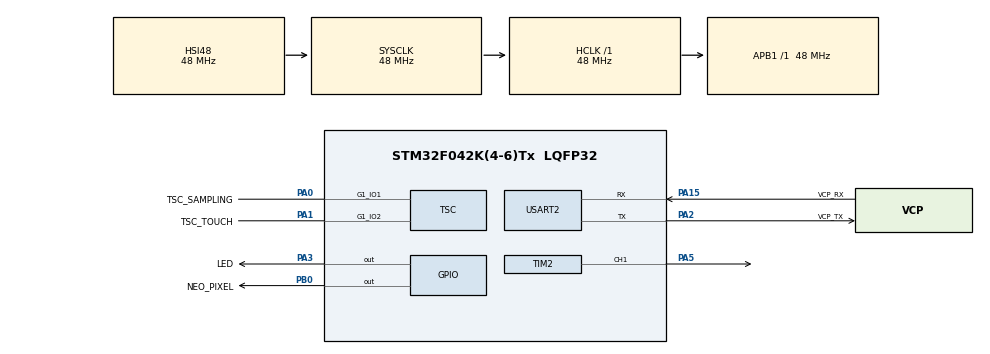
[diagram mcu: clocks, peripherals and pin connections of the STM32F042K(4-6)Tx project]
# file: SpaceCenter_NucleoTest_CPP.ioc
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Mcu.Family=STM32F0
Dma.TIM2_CH1.0.MemInc=DMA_MINC_ENABLE
TOUCHSENSING.IO_TOUCHKEY1-TouchSensing_Enabled=G1_IO2
TIM2.OCFastMode_PWM-PWM\ Generation1\ CH1=TIM_OCFAST_ENABLE
PA14.GPIO_Label=SWCLK
PA0.GPIO_Label=TSC_SAMPLING
PB0.GPIO_Label=NEO_PIXEL
Dma.TIM2_CH1.0.Instance=DMA1_Channel5
TOUCHSENSING.TSLPRM_TKEY_CALIB_TH=15
RCC.SYSCLKSource=RCC_SYSCLKSOURCE_HSI48
ProjectManager.StackSize=0x400
PB0.GPIO_Speed=GPIO_SPEED_FREQ_HIGH
PA13.Signal=SYS_SWDIO
PA15.GPIO_Label=VCP_RX
TOUCHSENSING.TSLPRM_TKEY_DETECT_IN_TH=30
ProjectManager.TargetToolchain=STM32CubeIDE
RCC.HCLKFreq_Value=48000000
TOUCHSENSING.TSLPRM_TOTAL_TOUCHKEYS_B=1
PA1.Signal=TSC_G1_IO2
RCC.AHBFreq_Value=48000000
PF0-OSC_IN.Mode=HSE-External-Clock-Source
PA5.Signal=S_TIM2_CH1_ETR
VP_TOUCHSENSING_VS_TOUCHSENSING.Mode=TouchSensing_Enabled
TOUCHSENSING.TSLPRM_TOTAL_TOUCHKEYS=0
PF0-OSC_IN.GPIO_Label=MCO
TOUCHSENSING.TSLPRM_USE_PROX=0
board=NUCLEO-F042K6
USART2.VirtualMode-Asynchronous=VM_ASYNC
PA15.Mode=Asynchronous
NVIC.DMA1_Channel4_5_IRQn=true\:0\:0\:false\:false\:true\:false\:true
PA1.Mode=G1_IO2-Channel
Dma.TIM2_CH1.0.Priority=DMA_PRIORITY_LOW
VP_TIM2_VS_ClockSourceINT.Mode=Internal
PA14.Mode=Serial_Wire
TOUCHSENSING.TSLPRM_TKEY_PROX_OUT_TH=5
TOUCHSENSING.TSLPRM_SENSORS_DATAS=TSLPRM_TOTAL_TOUCHKEYS_B 1 1 
PA0.Mode=G1_IO1-Sampling
PA1.GPIO_Label=TSC_TOUCH
TIM2.Channel-PWM\ Generation1\ CH1=TIM_CHANNEL_1
TIM2.Period=59
PA13.Mode=Serial_Wire
Mcu.Name=STM32F042K(4-6)Tx
PA2.Signal=USART2_TX
PA13.GPIO_Label=SWDIO
PA0.Signal=TSC_G1_IO1
RCC.SYSCLKFreq_VALUE=48000000
Mcu.Package=LQFP32
Dma.TIM2_CH1.0.Mode=DMA_CIRCULAR
TOUCHSENSING.TSLPRM_TKEY_PROX_IN_TH=10
TOUCHSENSING.IO_TOUCHKEY_B1=G1_IO2
TSC.ChannelIOs-G1_IO2=TSC_GROUP1_IO2
PA2.GPIO_Label=VCP_TX
Dma.TIM2_CH1.0.MemDataAlignment=DMA_MDATAALIGN_BYTE
SH.S_TIM2_CH1_ETR.0=TIM2_CH1,PWM Generation1 CH1
PA14.Signal=SYS_SWCLK
PA15.Signal=USART2_RX
ProjectManager.HeapSize=0x200
Dma.TIM2_CH1.0.PeriphDataAlignment=DMA_PDATAALIGN_WORD
RCC.APB1TimFreq_Value=48000000
PA2.Mode=Asynchronous
PF0-OSC_IN.Signal=RCC_OSC_IN
Dma.Request0=TIM2_CH1
RCC.APB1Freq_Value=48000000
TOUCHSENSING.TSLPRM_TKEY_DETECT_OUT_TH=25
PB0.Signal=GPIO_Output
Dma.TIM2_CH1.0.Direction=DMA_MEMORY_TO_PERIPH
Dma.TIM2_CH1.0.PeriphInc=DMA_PINC_DISABLE
TSC.SamplingIOs-G1_IO1=TSC_GROUP1_IO1
PA3.GPIO_Label=LED
PA3.Signal=GPIO_Output

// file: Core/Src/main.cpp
/* USER CODE BEGIN Header */
/**
  ******************************************************************************
  * @file           : main.c
  * @brief          : Main program body
  ******************************************************************************
  * @attention
  *
  * <h2><center>&copy; Copyright (c) 2020 STMicroelectronics.
  * All rights reserved.</center></h2>
  *
  * This software component is licensed by ST under BSD 3-Clause license,
  * the "License"; You may not use this file except in compliance with the
  * License. You may obtain a copy of the License at:
  *                        opensource.org/licenses/BSD-3-Clause
  *
  ******************************************************************************
  */
/* USER CODE END Header */
#include "main.h"
#include "touchsensing.h"

/* USER CODE BEGIN Includes */
#include "TouchBoardGroup.hpp"
/* USER CODE END Includes */

TIM_HandleTypeDef htim2;
DMA_HandleTypeDef hdma_tim2_ch1;

TSC_HandleTypeDef htsc;

UART_HandleTypeDef huart2;

/* USER CODE BEGIN PV */
TouchBoardGroup touchGroup0 = TouchBoardGroup(1, 0, htim2, 0, hdma_tim2_ch1);
/* USER CODE END PV */

void SystemClock_Config(void);
static void MX_GPIO_Init(void);
static void MX_DMA_Init(void);
static void MX_USART2_UART_Init(void);
static void MX_TSC_Init(void);
static void MX_TIM2_Init(void);

int main(void)
{

  /* MCU Configuration--------------------------------------------------------*/

  /* Reset of all peripherals, Initializes the Flash interface and the Systick. */
  HAL_Init();

  /* Configure the system clock */
  SystemClock_Config();

  /* Initialize all configured peripherals */
  MX_GPIO_Init();
  MX_DMA_Init();
  MX_USART2_UART_Init();
  MX_TSC_Init();
  MX_TOUCHSENSING_Init();
  MX_TIM2_Init();
  /* USER CODE BEGIN 2 */
  tsl_user_Init();

  /* USER CODE END 2 */

  /* Infinite loop */
  /* USER CODE BEGIN WHILE */
  tsl_user_Exec();
  HAL_GPIO_WritePin(LED_GPIO_Port, LED_Pin, GPIO_PIN_RESET);
  touchGroup0.setAllPixelColor(0,0,255);
  bool touched = false;
  bool touched_last = false;

  while (1)
  {
    /* USER CODE END WHILE */

    /* USER CODE BEGIN 3 */
    tsl_user_Exec();
    touchGroup0.updateTouchStates();
    touched = touchGroup0.getTouchDetected();
    if ((touched == true) && (touched_last == false))
    {
      touchGroup0.setAllPixelColor(0,255,0);
    }
    else if ((touched == false) && (touched_last == true))
    {
      touchGroup0.setAllPixelColor(0,0,255);
    }
    touched_last = touched;
    HAL_Delay(50);
    /* USER CODE END 3 */
  }
}

void SystemClock_Config(void)
{
  RCC_OscInitTypeDef RCC_OscInitStruct = {0};
  RCC_ClkInitTypeDef RCC_ClkInitStruct = {0};

  /** Initializes the RCC Oscillators according to the specified parameters
  * in the RCC_OscInitTypeDef structure.
  */
  RCC_OscInitStruct.OscillatorType = RCC_OSCILLATORTYPE_HSI48;
  RCC_OscInitStruct.HSI48State = RCC_HSI48_ON;
  RCC_OscInitStruct.PLL.PLLState = RCC_PLL_NONE;
  if (HAL_RCC_OscConfig(&RCC_OscInitStruct) != HAL_OK)
  {
    Error_Handler();
  }
  /** Initializes the CPU, AHB and APB buses clocks
  */
  RCC_ClkInitStruct.ClockType = RCC_CLOCKTYPE_HCLK|RCC_CLOCKTYPE_SYSCLK
                              |RCC_CLOCKTYPE_PCLK1;
  RCC_ClkInitStruct.SYSCLKSource = RCC_SYSCLKSOURCE_HSI48;
  RCC_ClkInitStruct.AHBCLKDivider = RCC_SYSCLK_DIV1;
  RCC_ClkInitStruct.APB1CLKDivider = RCC_HCLK_DIV1;

  if (HAL_RCC_ClockConfig(&RCC_ClkInitStruct, FLASH_LATENCY_1) != HAL_OK)
  {
    Error_Handler();
  }
}

static void MX_TIM2_Init(void)
{

  TIM_ClockConfigTypeDef sClockSourceConfig = {0};
  TIM_MasterConfigTypeDef sMasterConfig = {0};
  TIM_OC_InitTypeDef sConfigOC = {0};

  htim2.Instance = TIM2;
  htim2.Init.Prescaler = 0;
  htim2.Init.CounterMode = TIM_COUNTERMODE_UP;
  htim2.Init.Period = 59;
  htim2.Init.ClockDivision = TIM_CLOCKDIVISION_DIV1;
  htim2.Init.AutoReloadPreload = TIM_AUTORELOAD_PRELOAD_DISABLE;
  if (HAL_TIM_Base_Init(&htim2) != HAL_OK)
  {
    Error_Handler();
  }
  sClockSourceConfig.ClockSource = TIM_CLOCKSOURCE_INTERNAL;
  if (HAL_TIM_ConfigClockSource(&htim2, &sClockSourceConfig) != HAL_OK)
  {
    Error_Handler();
  }
  if (HAL_TIM_PWM_Init(&htim2) != HAL_OK)
  {
    Error_Handler();
  }
  sMasterConfig.MasterOutputTrigger = TIM_TRGO_RESET;
  sMasterConfig.MasterSlaveMode = TIM_MASTERSLAVEMODE_DISABLE;
  if (HAL_TIMEx_MasterConfigSynchronization(&htim2, &sMasterConfig) != HAL_OK)
  {
    Error_Handler();
  }
  sConfigOC.OCMode = TIM_OCMODE_PWM1;
  sConfigOC.Pulse = 0;
  sConfigOC.OCPolarity = TIM_OCPOLARITY_HIGH;
  sConfigOC.OCFastMode = TIM_OCFAST_ENABLE;
  if (HAL_TIM_PWM_ConfigChannel(&htim2, &sConfigOC, TIM_CHANNEL_1) != HAL_OK)
  {
    Error_Handler();
  }
  HAL_TIM_MspPostInit(&htim2);

}

static void MX_TSC_Init(void)
{

  /** Configure the TSC peripheral
  */
  htsc.Instance = TSC;
  htsc.Init.CTPulseHighLength = TSC_CTPH_2CYCLES;
  htsc.Init.CTPulseLowLength = TSC_CTPL_2CYCLES;
  htsc.Init.SpreadSpectrum = DISABLE;
  htsc.Init.SpreadSpectrumDeviation = 1;
  htsc.Init.SpreadSpectrumPrescaler = TSC_SS_PRESC_DIV1;
  htsc.Init.PulseGeneratorPrescaler = TSC_PG_PRESC_DIV4;
  htsc.Init.MaxCountValue = TSC_MCV_8191;
  htsc.Init.IODefaultMode = TSC_IODEF_OUT_PP_LOW;
  htsc.Init.SynchroPinPolarity = TSC_SYNC_POLARITY_FALLING;
  htsc.Init.AcquisitionMode = TSC_ACQ_MODE_NORMAL;
  htsc.Init.MaxCountInterrupt = DISABLE;
  htsc.Init.ChannelIOs = TSC_GROUP1_IO2;
  htsc.Init.ShieldIOs = 0;
  htsc.Init.SamplingIOs = TSC_GROUP1_IO1;
  if (HAL_TSC_Init(&htsc) != HAL_OK)
  {
    Error_Handler();
  }

}

static void MX_USART2_UART_Init(void)
{

  huart2.Instance = USART2;
  huart2.Init.BaudRate = 38400;
  huart2.Init.WordLength = UART_WORDLENGTH_8B;
  huart2.Init.StopBits = UART_STOPBITS_1;
  huart2.Init.Parity = UART_PARITY_NONE;
  huart2.Init.Mode = UART_MODE_TX_RX;
  huart2.Init.HwFlowCtl = UART_HWCONTROL_NONE;
  huart2.Init.OverSampling = UART_OVERSAMPLING_16;
  huart2.Init.OneBitSampling = UART_ONE_BIT_SAMPLE_DISABLE;
  huart2.AdvancedInit.AdvFeatureInit = UART_ADVFEATURE_NO_INIT;
  if (HAL_UART_Init(&huart2) != HAL_OK)
  {
    Error_Handler();
  }

}

static void MX_DMA_Init(void)
{

  /* DMA controller clock enable */
  __HAL_RCC_DMA1_CLK_ENABLE();

  /* DMA interrupt init */
  /* DMA1_Channel4_5_IRQn interrupt configuration */
  HAL_NVIC_SetPriority(DMA1_Channel4_5_IRQn, 0, 0);
  HAL_NVIC_EnableIRQ(DMA1_Channel4_5_IRQn);

}

static void MX_GPIO_Init(void)
{
	GPIO_InitTypeDef GPIO_InitStruct = {0};

	  /* GPIO Ports Clock Enable */
	  __HAL_RCC_GPIOF_CLK_ENABLE();
	  __HAL_RCC_GPIOA_CLK_ENABLE();
	  __HAL_RCC_GPIOB_CLK_ENABLE();

	  /*Configure GPIO pin Output Level */
	  HAL_GPIO_WritePin(LED_GPIO_Port, LED_Pin, GPIO_PIN_RESET);

	  /*Configure GPIO pin Output Level */
	  HAL_GPIO_WritePin(NEO_PIXEL_GPIO_Port, NEO_PIXEL_Pin, GPIO_PIN_RESET);

	  /*Configure GPIO pin : LED_Pin */
	  GPIO_InitStruct.Pin = LED_Pin;
	  GPIO_InitStruct.Mode = GPIO_MODE_OUTPUT_PP;
	  GPIO_InitStruct.Pull = GPIO_NOPULL;
	  GPIO_InitStruct.Speed = GPIO_SPEED_FREQ_LOW;
	  HAL_GPIO_Init(LED_GPIO_Port, &GPIO_InitStruct);

	  /*Configure GPIO pin : NEO_PIXEL_Pin */
	  GPIO_InitStruct.Pin = NEO_PIXEL_Pin;
	  GPIO_InitStruct.Mode = GPIO_MODE_OUTPUT_PP;
	  GPIO_InitStruct.Pull = GPIO_NOPULL;
	  GPIO_InitStruct.Speed = GPIO_SPEED_FREQ_HIGH;
	  HAL_GPIO_Init(NEO_PIXEL_GPIO_Port, &GPIO_InitStruct);

}

/* USER CODE BEGIN 4 */
void HAL_TIM_PWM_PulseFinishedHalfCpltCallback(TIM_HandleTypeDef *htim) {
  touchGroup0.updatePixelHalfDMA();
}

void HAL_TIM_PWM_PulseFinishedCallback(TIM_HandleTypeDef *htim) {
  touchGroup0.updatePixelDMA();
}
/* USER CODE END 4 */

void Error_Handler(void)
{
}

/************************ (C) COPYRIGHT STMicroelectronics *****END OF FILE****/
